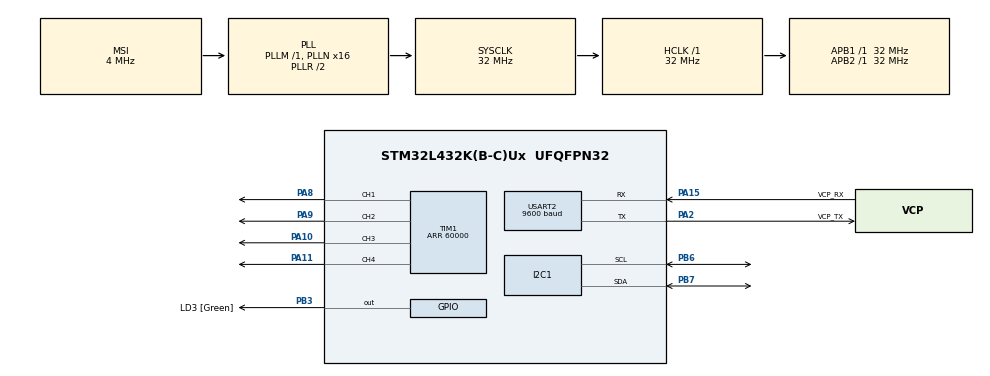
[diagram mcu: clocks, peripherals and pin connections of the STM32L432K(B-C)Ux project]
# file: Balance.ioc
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Mcu.Family=STM32L4
Mcu.Name=STM32L432K(B-C)Ux
Mcu.Package=UFQFPN32
NVIC.PriorityGroup=NVIC_PRIORITYGROUP_4
NVIC.TIM6_DAC_IRQn=true\:0\:0\:false\:false\:true
PA0.GPIO_Label=MCO [High speed clock in]
PA0.Signal=RCC_CK_IN
PA10.Signal=S_TIM1_CH3
PA11.Signal=S_TIM1_CH4
PA13\ (JTMS-SWDIO).GPIO_Label=SWDIO
PA13\ (JTMS-SWDIO).Signal=SYS_JTMS-SWDIO
PA14\ (JTCK-SWCLK).GPIO_Label=SWCLK
PA14\ (JTCK-SWCLK).Signal=SYS_JTCK-SWCLK
PA15\ (JTDI).GPIO_Label=VCP_RX
PA15\ (JTDI).Mode=Asynchronous
PA15\ (JTDI).Signal=USART2_RX
PA2.GPIO_Label=VCP_TX
PA2.Mode=Asynchronous
PA2.Signal=USART2_TX
PA8.Signal=S_TIM1_CH1
PA9.Signal=S_TIM1_CH2
PB3\ (JTDO-TRACESWO).GPIO_Label=LD3 [Green]
PB3\ (JTDO-TRACESWO).Signal=GPIO_Output
PB6.Mode=I2C
PB6.Signal=I2C1_SCL
PB7.Mode=I2C
PB7.Signal=I2C1_SDA
PC14-OSC32_IN\ (PC14).Signal=RCC_OSC32_IN
PC15-OSC32_OUT\ (PC15).Signal=RCC_OSC32_OUT
ProjectManager.HeapSize=0x200
ProjectManager.StackSize=0x400
ProjectManager.TargetToolchain=MDK-ARM V5
RCC.AHBFreq_Value=32000000
RCC.APB1Freq_Value=32000000
RCC.APB1TimFreq_Value=32000000
RCC.APB2Freq_Value=32000000
RCC.APB2TimFreq_Value=32000000
RCC.CortexFreq_Value=32000000
RCC.HCLKFreq_Value=32000000
RCC.HSE_VALUE=8000000
RCC.HSI16_VALUE=16000000
RCC.HSI48_VALUE=48000000
RCC.HSI_VALUE=16000000
RCC.LSE_VALUE=32768
RCC.MSI_VALUE=4000000
RCC.PLLMUL=RCC_PLLMUL_4
RCC.PLLN=16
RCC.SYSCLKFreq_VALUE=32000000
RCC.SYSCLKSource=RCC_SYSCLKSOURCE_PLLCLK
RCC.VCOOutputFreq_Value=64000000
SH.S_TIM1_CH1.0=TIM1_CH1,PWM Generation1 CH1
SH.S_TIM1_CH2.0=TIM1_CH2,PWM Generation2 CH2
SH.S_TIM1_CH3.0=TIM1_CH3,PWM Generation3 CH3
SH.S_TIM1_CH4.0=TIM1_CH4,PWM Generation4 CH4
TIM1.Channel-PWM\ Generation1\ CH1=TIM_CHANNEL_1
TIM1.Channel-PWM\ Generation2\ CH2=TIM_CHANNEL_2
TIM1.Channel-PWM\ Generation3\ CH3=TIM_CHANNEL_3
TIM1.Channel-PWM\ Generation4\ CH4=TIM_CHANNEL_4
TIM1.Period=60000
TIM6.Period=48000
USART2.BaudRate=9600
USART2.VirtualMode-Asynchronous=VM_ASYNC
VP_TIM6_VS_ClockSourceINT.Mode=Enable_Timer
board=NUCLEO-L432KC

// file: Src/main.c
/**
  ******************************************************************************
  * File Name          : main.c
  * Description        : Main program body
  ******************************************************************************
  ** This notice applies to any and all portions of this file
  * that are not between comment pairs USER CODE BEGIN and
  * USER CODE END. Other portions of this file, whether
  * inserted by the user or by software development tools
  * are owned by their respective copyright owners.
  *
  * COPYRIGHT(c) 2018 STMicroelectronics
  *
  * Redistribution and use in source and binary forms, with or without modification,
  * are permitted provided that the following conditions are met:
  *   1. Redistributions of source code must retain the above copyright notice,
  *      this list of conditions and the following disclaimer.
  *   2. Redistributions in binary form must reproduce the above copyright notice,
  *      this list of conditions and the following disclaimer in the documentation
  *      and/or other materials provided with the distribution.
  *   3. Neither the name of STMicroelectronics nor the names of its contributors
  *      may be used to endorse or promote products derived from this software
  *      without specific prior written permission.
  *
  * THIS SOFTWARE IS PROVIDED BY THE COPYRIGHT HOLDERS AND CONTRIBUTORS "AS IS"
  * AND ANY EXPRESS OR IMPLIED WARRANTIES, INCLUDING, BUT NOT LIMITED TO, THE
  * IMPLIED WARRANTIES OF MERCHANTABILITY AND FITNESS FOR A PARTICULAR PURPOSE ARE
  * DISCLAIMED. IN NO EVENT SHALL THE COPYRIGHT HOLDER OR CONTRIBUTORS BE LIABLE
  * FOR ANY DIRECT, INDIRECT, INCIDENTAL, SPECIAL, EXEMPLARY, OR CONSEQUENTIAL
  * DAMAGES (INCLUDING, BUT NOT LIMITED TO, PROCUREMENT OF SUBSTITUTE GOODS OR
  * SERVICES; LOSS OF USE, DATA, OR PROFITS; OR BUSINESS INTERRUPTION) HOWEVER
  * CAUSED AND ON ANY THEORY OF LIABILITY, WHETHER IN CONTRACT, STRICT LIABILITY,
  * OR TORT (INCLUDING NEGLIGENCE OR OTHERWISE) ARISING IN ANY WAY OUT OF THE USE
  * OF THIS SOFTWARE, EVEN IF ADVISED OF THE POSSIBILITY OF SUCH DAMAGE.
  *
  ******************************************************************************
  */
#include "main.h"
#include "stm32l4xx_hal.h"
#include "i2c.h"
#include "tim.h"
#include "usart.h"
#include "gpio.h"

/* USER CODE BEGIN Includes */
#include "MPU6050.h"
#include "MahonyAHRS.h"
/* USER CODE END Includes */

/* USER CODE BEGIN PV */
/* Private variables ---------------------------------------------------------*/

/* USER CODE END PV */

void SystemClock_Config(void);

/* USER CODE BEGIN PFP */
/* Private function prototypes -----------------------------------------------*/

/* USER CODE END PFP */

/* USER CODE BEGIN 0 */
	//UART and I2C
char bufferUart[60];
uint32_t length;

/* USER CODE END 0 */

int main(void)
{

  /* MCU Configuration----------------------------------------------------------*/

  /* Reset of all peripherals, Initializes the Flash interface and the Systick. */
  HAL_Init();

  /* Configure the system clock */
  SystemClock_Config();

  /* Initialize all configured peripherals */
  MX_GPIO_Init();
  MX_TIM1_Init();
  MX_I2C1_Init();
  MX_USART2_UART_Init();
  MX_TIM6_Init();

  /* USER CODE BEGIN 2 */
//	uint8_t addressWrite = 0xD2; // 1101 0000
//	uint8_t addressRead = 0xD3; // 1101 0001
//	unsigned char buffer [10];
	float readings[6];
	Init();

	//int error;
  /* USER CODE END 2 */

  /* Infinite loop */
  while (1)
  {

  /* USER CODE BEGIN 3 */
		static int32_t timestamp = 0;
		if (HAL_GetTick() - timestamp > 100)
		{
			check(readings);
			MahonyAHRSupdateIMU( readings[0],  readings[1], readings[2], readings[3], readings[4], readings[5]);
			computeAngles();
			timestamp = 100;
		}
		static int compensation;

		length = sprintf(bufferUart,"\rX : %i",(int16_t)readings[0]);
		HAL_UART_Transmit(&huart2, (uint8_t*)bufferUart, length, 100);

							compensation = 12 - length;
							sprintf(bufferUart," ");
							for (int i = 0; i < compensation;i++)
							{
								HAL_UART_Transmit(&huart2, (uint8_t*)bufferUart, 1, 100);
							}

		length = sprintf(bufferUart,"Y : %i",(int16_t)readings[1]);
		HAL_UART_Transmit(&huart2, (uint8_t*)bufferUart, length, 100);

							compensation = 12 - length;
							sprintf(bufferUart," ");
							for (int i = 0; i < compensation;i++)
							{
								HAL_UART_Transmit(&huart2, (uint8_t*)bufferUart, 1, 100);
							}

		length = sprintf(bufferUart,"Z : %i",(int16_t)readings[2]);
		HAL_UART_Transmit(&huart2, (uint8_t*)bufferUart, length, 100);

							compensation = 12 - length;
							sprintf(bufferUart," ");
							for (int i = 0; i < compensation;i++)
							{
								HAL_UART_Transmit(&huart2, (uint8_t*)bufferUart, 1, 100);
							}

		length = sprintf(bufferUart,"Pitch: %i",(int16_t)readings[3]);
		HAL_UART_Transmit(&huart2, (uint8_t*)bufferUart, length, 100);

							compensation = 15 - length;
							sprintf(bufferUart," ");
							for (int i = 0; i < compensation;i++)
							{
								HAL_UART_Transmit(&huart2, (uint8_t*)bufferUart, 1, 100);
							}

		length = sprintf(bufferUart,"Roll: %i",(int16_t)readings[4]);
		HAL_UART_Transmit(&huart2, (uint8_t*)bufferUart, length, 100);

							compensation = 14 - length;
							sprintf(bufferUart," ");
							for (int i = 0; i < compensation;i++)
							{
								HAL_UART_Transmit(&huart2, (uint8_t*)bufferUart, 1, 100);
							}

		length = sprintf(bufferUart,"Yaw: %i",(int16_t)readings[5]);
		HAL_UART_Transmit(&huart2, (uint8_t*)bufferUart, length, 100);

							compensation = 12 - length;
							sprintf(bufferUart," ");
							for (int i = 0; i < compensation;i++)
							{
								HAL_UART_Transmit(&huart2, (uint8_t*)bufferUart, 1, 100);
							}

		length = sprintf(bufferUart,"q0: %f",q0);
		HAL_UART_Transmit(&huart2, (uint8_t*)bufferUart, length, 100);

							compensation = 15 - length;
							sprintf(bufferUart," ");
							for (int i = 0; i < compensation;i++)
							{
								HAL_UART_Transmit(&huart2, (uint8_t*)bufferUart, 1, 100);
							}

		length = sprintf(bufferUart," q1: %f",q1);
		HAL_UART_Transmit(&huart2, (uint8_t*)bufferUart, length, 100);

							compensation = 15 - length;
							sprintf(bufferUart," ");
							for (int i = 0; i < compensation;i++)
							{
								HAL_UART_Transmit(&huart2, (uint8_t*)bufferUart, 1, 100);
							}
		length = sprintf(bufferUart,"q2: %f",q2);
		HAL_UART_Transmit(&huart2, (uint8_t*)bufferUart, length, 100);

							compensation = 15 - length;
							sprintf(bufferUart," ");
							for (int i = 0; i < compensation;i++)
							{
								HAL_UART_Transmit(&huart2, (uint8_t*)bufferUart, 1, 100);
							}

		length = sprintf(bufferUart,"q3: %f",q3);
		HAL_UART_Transmit(&huart2, (uint8_t*)bufferUart, length, 100);

		HAL_Delay(5);
	}

  /* USER CODE END 3 */

}

/** System Clock Configuration
*/
void SystemClock_Config(void)
{

  RCC_OscInitTypeDef RCC_OscInitStruct;
  RCC_ClkInitTypeDef RCC_ClkInitStruct;
  RCC_PeriphCLKInitTypeDef PeriphClkInit;

    /**Initializes the CPU, AHB and APB busses clocks
    */
  RCC_OscInitStruct.OscillatorType = RCC_OSCILLATORTYPE_MSI;
  RCC_OscInitStruct.MSIState = RCC_MSI_ON;
  RCC_OscInitStruct.MSICalibrationValue = 0;
  RCC_OscInitStruct.MSIClockRange = RCC_MSIRANGE_6;
  RCC_OscInitStruct.PLL.PLLState = RCC_PLL_ON;
  RCC_OscInitStruct.PLL.PLLSource = RCC_PLLSOURCE_MSI;
  RCC_OscInitStruct.PLL.PLLM = 1;
  RCC_OscInitStruct.PLL.PLLN = 16;
  RCC_OscInitStruct.PLL.PLLP = RCC_PLLP_DIV7;
  RCC_OscInitStruct.PLL.PLLQ = RCC_PLLQ_DIV2;
  RCC_OscInitStruct.PLL.PLLR = RCC_PLLR_DIV2;
  if (HAL_RCC_OscConfig(&RCC_OscInitStruct) != HAL_OK)
  {
    _Error_Handler(__FILE__, __LINE__);
  }

    /**Initializes the CPU, AHB and APB busses clocks
    */
  RCC_ClkInitStruct.ClockType = RCC_CLOCKTYPE_HCLK|RCC_CLOCKTYPE_SYSCLK
                              |RCC_CLOCKTYPE_PCLK1|RCC_CLOCKTYPE_PCLK2;
  RCC_ClkInitStruct.SYSCLKSource = RCC_SYSCLKSOURCE_PLLCLK;
  RCC_ClkInitStruct.AHBCLKDivider = RCC_SYSCLK_DIV1;
  RCC_ClkInitStruct.APB1CLKDivider = RCC_HCLK_DIV1;
  RCC_ClkInitStruct.APB2CLKDivider = RCC_HCLK_DIV1;

  if (HAL_RCC_ClockConfig(&RCC_ClkInitStruct, FLASH_LATENCY_1) != HAL_OK)
  {
    _Error_Handler(__FILE__, __LINE__);
  }

  PeriphClkInit.PeriphClockSelection = RCC_PERIPHCLK_USART2|RCC_PERIPHCLK_I2C1;
  PeriphClkInit.Usart2ClockSelection = RCC_USART2CLKSOURCE_PCLK1;
  PeriphClkInit.I2c1ClockSelection = RCC_I2C1CLKSOURCE_PCLK1;
  if (HAL_RCCEx_PeriphCLKConfig(&PeriphClkInit) != HAL_OK)
  {
    _Error_Handler(__FILE__, __LINE__);
  }

    /**Configure the main internal regulator output voltage
    */
  if (HAL_PWREx_ControlVoltageScaling(PWR_REGULATOR_VOLTAGE_SCALE1) != HAL_OK)
  {
    _Error_Handler(__FILE__, __LINE__);
  }

    /**Configure the Systick interrupt time
    */
  HAL_SYSTICK_Config(HAL_RCC_GetHCLKFreq()/1000);

    /**Configure the Systick
    */
  HAL_SYSTICK_CLKSourceConfig(SYSTICK_CLKSOURCE_HCLK);

  /* SysTick_IRQn interrupt configuration */
  HAL_NVIC_SetPriority(SysTick_IRQn, 0, 0);
}

void _Error_Handler(char * file, int line)
{
  while(1)
  {
  }
}

/************************ (C) COPYRIGHT STMicroelectronics *****END OF FILE****/
